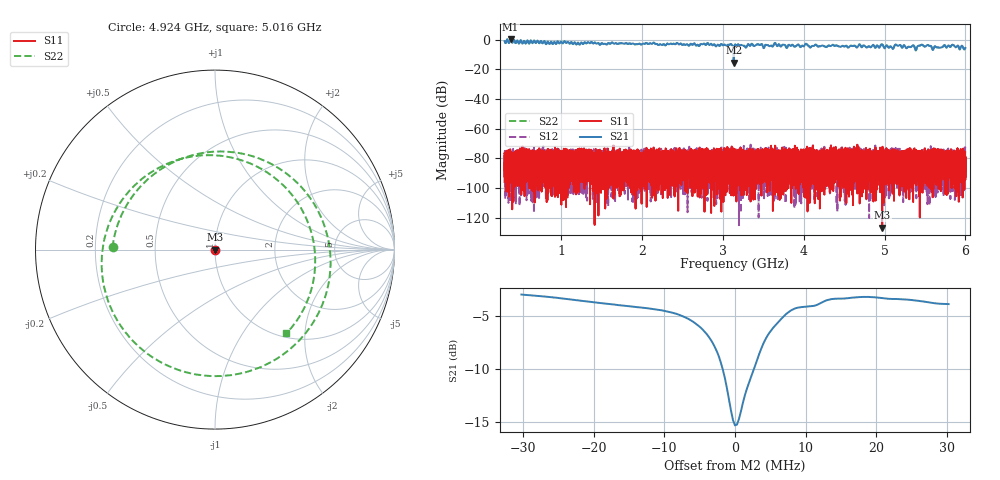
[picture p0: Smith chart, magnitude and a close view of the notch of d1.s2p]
!Agilent Technologies,N5230C,SG49000117,A.08.50.07
!Agilent N5230C: A.08.50.07
!Date: Monday, March 18, 2024 18:52:41
!Correction: S11(Off)
!S21(Off)
!S12(Off)
!S22(Off)
!S2P File: Measurements: S11, S21, S12, S22:
# Hz S  RI  R 50
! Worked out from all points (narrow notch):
!   20001 points, 300 MHz to 6 GHz, reference 50 ohm
!   highest |S21| = 0.46 dB at 374.1 MHz (marker M1); lowest = -15.4 dB at 3.134 GHz (marker M2)
!   notch at M2: 12.0 dB deep, 5.04 MHz wide at half that depth
!   lowest |S11| = -126.7 dB at 4.97 GHz (marker M3), VSWR 1.00, Z = 50 - j3.74e-05 ohm
!   |S11| at or under -10 dB: start of sweep to end of sweep
!   |S22| runs from -15.3 to 0.5 dB; largest |S21 - S12| = 1.1
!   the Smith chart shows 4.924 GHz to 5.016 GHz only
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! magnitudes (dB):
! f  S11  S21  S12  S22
! 300 MHz  -95.8  -0.9  -84.6  -0.9
! 374.1 MHz  -88.5  0.5  -87.2  0.5
! 1.25 GHz  -79.9  -1.7  -84.0  -1.7
! 2.2 GHz  -79.4  -3.5  -82.6  -3.5
! 3.084 GHz  -83.9  -3.3  -83.6  -3.3
! 3.134 GHz  -82.6  -15.4  -81.8  -15.3
! 3.15 GHz  -75.6  -3.3  -84.4  -3.3
! 3.174 GHz  -91.6  -3.7  -85.2  -3.7
! 3.27 GHz  -84.9  -4.3  -91.5  -4.2
! 3.455 GHz  -85.8  -3.5  -77.7  -3.5
! 3.517 GHz  -85.5  -4.3  -89.4  -4.3
! 3.976 GHz  -81.4  -4.1  -84.4  -4.0
! 4.035 GHz  -84.6  -2.9  -74.7  -2.8
! 4.1 GHz  -97.1  -4.2  -79.1  -4.1
! 4.97 GHz  -126.7  -3.2  -85.6  -3.1
! 5.05 GHz  -81.8  -5.2  -77.6  -5.2
! 5.161 GHz  -78.8  -4.0  -76.2  -4.0
! 5.394 GHz  -98.2  -6.3  -95.8  -6.3
! 5.455 GHz  -83.5  -3.3  -80.4  -3.4
! 5.611 GHz  -81.9  -5.3  -82.2  -5.3
! 5.844 GHz  -90.6  -3.4  -74.4  -3.4
! 6 GHz  -88.4  -5.5  -77.9  -5.5
